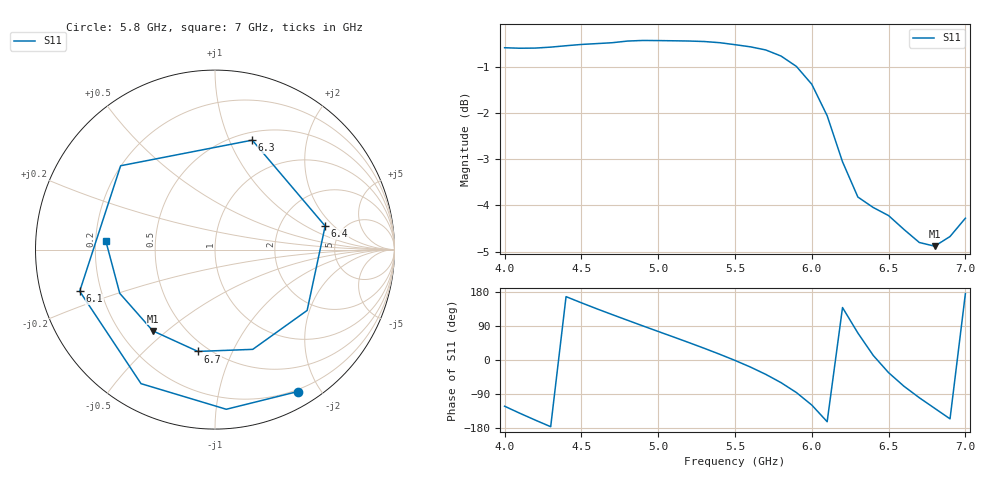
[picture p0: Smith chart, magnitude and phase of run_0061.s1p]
! Touchstone file exported from HFSS 2024.2.0
!  File:  C:/Users/wsak9/Desktop/Sim Fast/Widenad Patch/WP_AI_V1_sweep.aedt
!  Generated:  05:28:58 PM Oct 13, 2026
!  Design:  A1_model
!  Project:  WP_AI_V1_sweep
!  Setup:  Setup1
!  Solution:  Sweep
! Variables:
!  Air_gap = 4.79mm
!  Curve_Amp1 = 1.74
!  Curve_len1 = 1
!  Curve_pos = 9.595mm
!  Extra = 5.16mm
!  H_sub = 0.79mm
!  L_Patch = 15.19mm
!  L_Patch1 = 20.92mm
!  Sx = 1.13mm
!  Sy = 2mm
!  WS = 1.17mm
!  W_Patch = 18.05mm
!  W_Patch1 = 15.76mm
!Data is not renormalized
# GHz S MA
! Terminal data exported
! Port[1] = 1
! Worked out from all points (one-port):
!   31 points, 4 GHz to 7 GHz, reference per port
!   lowest |S11| = -4.9 dB at 6.8 GHz (marker M1), VSWR 3.65
!   |S11| at or under -10 dB: nowhere
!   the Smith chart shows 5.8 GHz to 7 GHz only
!   S11 on the Smith chart (normalised r, x): 5.8 GHz: 0.18, -1.72; 6.1 GHz: 0.12, -0.15; 6.3 GHz: 0.59, +1.22; 6.4 GHz: 3.64, +1.58; 6.7 GHz: 0.44, -0.75; 7 GHz: 0.24, +0.04
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4  0.9343 -122.0
4.1  0.9331 -140.7
4.2  0.9335 -158.7
4.3  0.9357 -176.0
4.4  0.9389 167.2
4.5  0.942 150.9
4.6  0.9439 135.2
4.8  0.9499 104.9
4.9  0.9514 90.0
5  0.9511 75.3
5.2  0.95 45.9
5.4  0.9461 15.2
5.5  0.9414 -1.1
5.6  0.9364 -18.5
5.7  0.9292 -37.8
5.8  0.9151 -59.8
5.9  0.8918 -86.0
6  0.853 -118.9
6.1  0.7888 -162.9
6.2  0.7033 138.4
6.3  0.6442 71.2
6.4  0.6277 12.1
6.5  0.6151 -33.4
6.6  0.5943 -69.3
6.7  0.5753 -99.6
6.8  0.5701 -127.4
6.9  0.584 -155.3
7  0.6111 175.2
